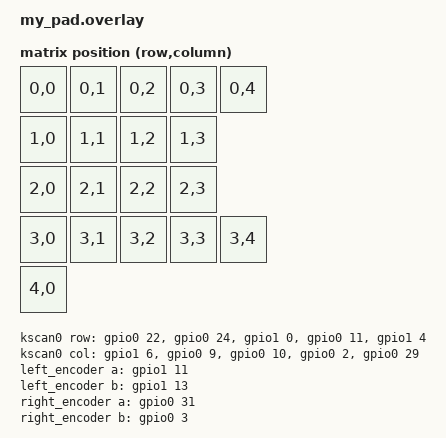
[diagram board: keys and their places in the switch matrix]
/*
 * Copyright (c) 2024 The ZMK Contributors
 * SPDX-License-Identifier: MIT
 *
 * 左手游戏小键盘 - 人体工学布局
 * 17 个按键 + 2 个旋钮编码器
 * 矩阵: 5 行 × 5 列
 */

#include <dt-bindings/zmk/matrix_transform.h>
#include <dt-bindings/led/led.h>

/ {
    chosen {
        zmk,kscan = &kscan0;
        zmk,matrix_transform = &default_transform;
        zmk,underglow = &led_strip;
    };

    /* 
     * ============================================================
     * 矩阵变换 (Matrix Transform)
     * ============================================================
     * 物理布局 → 逻辑位置映射
     * 
     * 物理布局:
     *        [1]  [2]  [3]  [4]     [旋钮2]
     *      [Q]     [W]  [E]  [R]
     *       [A]  [S]     [D]  [F]
     * [旋钮1]    [Z]  [X]  [C]  [V]
     *              [  Space  ]
     */
    default_transform: keymap_transform_0 {
        compatible = "zmk,matrix-transform";
        columns = <5>;
        rows = <5>;
        
        map = <
            /* Row 0: 数字行 + 旋钮2 */
            RC(0,0) RC(0,1) RC(0,2) RC(0,3) RC(0,4)
            /* Row 1: QWER 行 */
            RC(1,0) RC(1,1) RC(1,2) RC(1,3)
            /* Row 2: ASDF 行 */
            RC(2,0) RC(2,1) RC(2,2) RC(2,3)
            /* Row 3: ZXCV 行 + 旋钮1 */
            RC(3,0) RC(3,1) RC(3,2) RC(3,3) RC(3,4)
            /* Row 4: 空格 */
            RC(4,0)
        >;
    };

    /* 
     * ============================================================
     * 物理按键扫描 (Kscan)
     * ============================================================
     * Nice!Nano v2 引脚分配:
     * 
     * 行 (Row) - 输出，active high:
     *   Row0: P0.22 (D4)  - 数字行
     *   Row1: P0.24 (D5)  - QWER 行  
     *   Row2: P1.00 (D6)  - ASDF 行
     *   Row3: P0.11 (D7)  - ZXCV 行
     *   Row4: P1.04 (D8)  - 空格行 ← 新增！
     *
     * 列 (Col) - 输入，带下拉:
     *   Col0: P1.06 (D9)
     *   Col1: P0.09 (D10) - NFC 引脚，需要 CONFIG_NFCT_PINS_AS_GPIOS=y
     *   Col2: P0.10 (D16) - NFC 引脚，需要 CONFIG_NFCT_PINS_AS_GPIOS=y
     *   Col3: P0.02 (A2)
     *   Col4: P0.29 (A3)  - 旋钮按压列
     */
    kscan0: kscan_0 {
        compatible = "zmk,kscan-gpio-matrix";
        wakeup-source;
        diode-direction = "col2row";

        row-gpios
            = <&gpio0 22 (GPIO_ACTIVE_HIGH | GPIO_PULL_DOWN)>  /* Row0: D4 */
            , <&gpio0 24 (GPIO_ACTIVE_HIGH | GPIO_PULL_DOWN)>  /* Row1: D5 */
            , <&gpio1 0  (GPIO_ACTIVE_HIGH | GPIO_PULL_DOWN)>  /* Row2: D6 */
            , <&gpio0 11 (GPIO_ACTIVE_HIGH | GPIO_PULL_DOWN)>  /* Row3: D7 */
            , <&gpio1 4  (GPIO_ACTIVE_HIGH | GPIO_PULL_DOWN)>  /* Row4: D8 ← 新增! */
            ;

        col-gpios
            = <&gpio1 6  GPIO_ACTIVE_HIGH>   /* Col0: D9 */
            , <&gpio0 9  GPIO_ACTIVE_HIGH>   /* Col1: D10 (P0.09 NFC) */
            , <&gpio0 10 GPIO_ACTIVE_HIGH>   /* Col2: D16 (P0.10 NFC) */
            , <&gpio0 2  GPIO_ACTIVE_HIGH>   /* Col3: A2 */
            , <&gpio0 29 GPIO_ACTIVE_HIGH>   /* Col4: A3 (旋钮按压) */
            ;
    };

    /* 
     * ============================================================
     * 旋钮编码器 (Rotary Encoders)
     * ============================================================
     */
    
    /* 左旋钮 (旋钮1): 位于左下角 */
    left_encoder: encoder_left {
        compatible = "alps,ec11";
        a-gpios = <&gpio1 11 (GPIO_ACTIVE_HIGH | GPIO_PULL_UP)>;  /* P1.11 (D14) */
        b-gpios = <&gpio1 13 (GPIO_ACTIVE_HIGH | GPIO_PULL_UP)>;  /* P1.13 (D15) */
        steps = <80>;
        status = "okay";
    };

    /* 右旋钮 (旋钮2): 位于右上角 */
    right_encoder: encoder_right {
        compatible = "alps,ec11";
        a-gpios = <&gpio0 31 (GPIO_ACTIVE_HIGH | GPIO_PULL_UP)>;  /* P0.31 (A0) */
        b-gpios = <&gpio0 3  (GPIO_ACTIVE_HIGH | GPIO_PULL_UP)>;  /* P0.03 (A1) */
        steps = <80>;
        status = "okay";
    };

    sensors: sensors {
        compatible = "zmk,keymap-sensors";
        sensors = <&left_encoder &right_encoder>;
        triggers-per-rotation = <20>;
    };
};

/* 
 * ============================================================
 * RGB 灯带配置 (WS2812B)
 * ============================================================
 * 使用 SPI3 通过 P0.08 (D0) 输出数据
 */
&spi3 {
    compatible = "nordic,nrf-spim";
    status = "okay";
    pinctrl-0 = <&spi3_default>;
    pinctrl-1 = <&spi3_sleep>;
    pinctrl-names = "default", "sleep";

    led_strip: ws2812@0 {
        compatible = "worldsemi,ws2812-spi";
        reg = <0>;
        spi-max-frequency = <4000000>;
        chain-length = <10>;
        spi-one-frame = <0x70>;
        spi-zero-frame = <0x40>;
        color-mapping = <LED_COLOR_ID_GREEN LED_COLOR_ID_RED LED_COLOR_ID_BLUE>;
    };
};

&pinctrl {
    spi3_default: spi3_default {
        group1 {
            psels = <NRF_PSEL(SPIM_MOSI, 0, 8)>;  /* P0.08 = D0 */
        };
    };

    spi3_sleep: spi3_sleep {
        group1 {
            psels = <NRF_PSEL(SPIM_MOSI, 0, 8)>;
            low-power-enable;
        };
    };
};

/*
 * 注意：Nice!View 显示屏的配置由 nice_view_adapter shield 自动处理
 */
